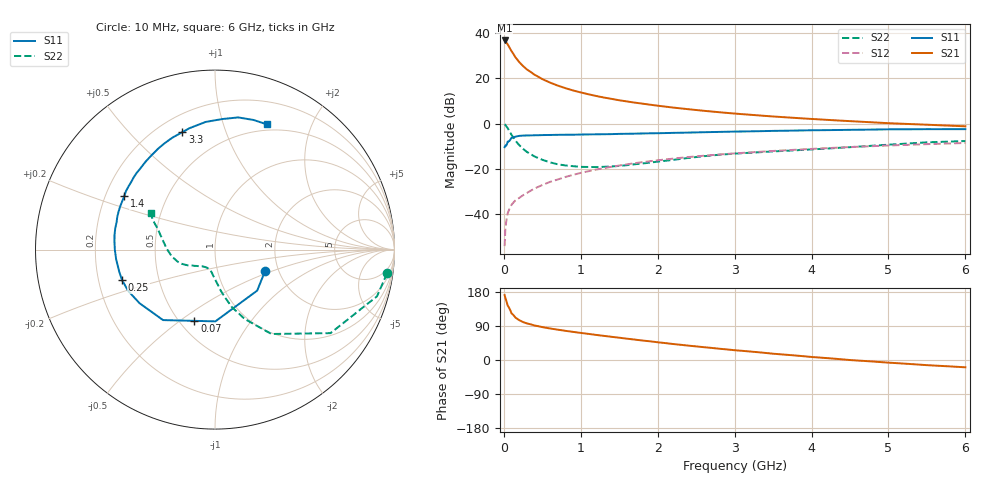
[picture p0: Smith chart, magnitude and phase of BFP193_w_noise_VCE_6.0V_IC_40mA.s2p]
! Infineon Technologies  Discrete & RF Semiconductors
! BFP193
! VCE =  6.0 V,  IC =  40 mA
! Common Emitter S-Parameters:  Jan 2017
# GHz  S  MA  R  50
!  f  S11  S21  S12  S22
! GHz  MAG  ANG  MAG  ANG  MAG  ANG  MAG  ANG
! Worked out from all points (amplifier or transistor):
!   77 points, 10 MHz to 6 GHz, reference 50 ohm
!   highest |S21| = 36.6 dB at 10 MHz (marker M1)
!   |S21| within 3 dB of that: start of sweep to 71.53 MHz
!   unconditionally stable (mu >= 1): 654.6 MHz to 2.395 GHz
!   at 130 MHz: K = 0.55, MSG = 32.5 dB, |S12| = -34.6 dB
!   at 2.2 GHz: K = 1.01, MAG = 10.6 dB, |S12| = -15.4 dB
!   at 6 GHz: K = 0.92, MSG = 3.7 dB, |S12| = -8.5 dB
!   lowest NFmin = 1.38 dB at 450 MHz
!   S11 on the Smith chart (normalised r, x): 10 MHz: 1.70, -0.44; 70 MHz: 0.59, -0.57; 250 MHz: 0.30, -0.15; 1.4 GHz: 0.28, +0.25; 3.3 GHz: 0.30, +0.72; 6 GHz: 0.43, +1.40
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0.01  0.3033 -22.8  67.67 171.4  0.002 89.8  0.9678 -7.8
0.02  0.3278 -44.2  66.35 163.6  0.0048 81.2  0.9394 -16.1
0.05  0.3999 -89.7  55.6 143.5  0.0106 65.3  0.794 -35.9
0.07  0.4132 -106.1  48.42 137.0  0.0129 62.1  0.693 -42.4
0.1  0.4879 -126.4  39.35 123.1  0.0163 58.9  0.5656 -56.2
0.15  0.5157 -144.6  28.93 112.0  0.0203 57.5  0.421 -66.8
0.2  0.5359 -154.6  22.62 105.1  0.0231 58.9  0.3355 -73.5
0.25  0.5449 -161.8  18.47 100.0  0.0265 59.9  0.2779 -77.7
0.3  0.5475 -166.8  15.55 96.5  0.0297 60.5  0.2376 -81.4
0.4  0.5534 -174.3  11.87 91.0  0.0372 63.8  0.1883 -86.4
0.5  0.5582 -180.0  9.542 86.8  0.0443 65.5  0.1594 -91.0
0.6  0.5619 175.5  8.001 83.2  0.052 66.1  0.1403 -95.2
0.7  0.5656 171.8  6.87 80.1  0.0587 67.1  0.1271 -98.6
0.9  0.5689 164.6  5.361 74.2  0.0743 66.2  0.1154 -105.6
1.1  0.5775 158.4  4.419 68.9  0.0894 65.3  0.1109 -112.4
1.4  0.5864 149.6  3.499 61.2  0.112 62.6  0.1138 -123.5
2.1  0.6185 130.6  2.363 44.6  0.1624 54.5  0.1519 -144.1
3.1  0.6704 109.2  1.613 24.2  0.2263 42.2  0.223 -164.0
3.3  0.6793 105.5  1.52 20.6  0.2378 39.9  0.2331 -167.7
4.1  0.7153 92.7  1.237 6.5  0.2825 30.5  0.2758 176.3
5.1  0.748 78.8  1.005 -8.2  0.3337 19.1  0.3515 158.4
6  0.7553 67.6  0.871 -19.3  0.3742 9.1  0.4129 150.0
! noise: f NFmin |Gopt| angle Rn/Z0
0.45  1.38  0.38  -172  0.08
0.9  1.43  0.41  -167  0.08
1.9  2.05  0.59  -135  0.2
2.4  2.37  0.63  -120  0.42
